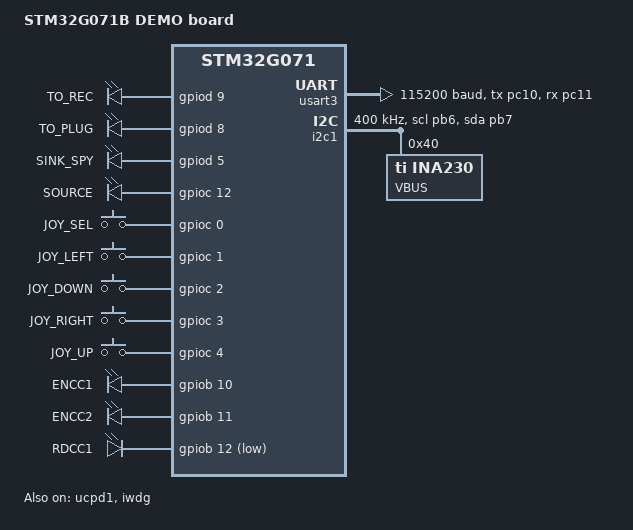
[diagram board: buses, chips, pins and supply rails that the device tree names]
/*
 * Copyright 2021 The Chromium OS Authors
 *
 * SPDX-License-Identifier: Apache-2.0
 */

/dts-v1/;
#include <st/g0/stm32g071Xb.dtsi>
#include <st/g0/stm32g071r(6-8-b)tx-pinctrl.dtsi>
#include <zephyr/dt-bindings/sensor/ina230.h>

/ {
	model = "STM32G071B DEMO board";
	compatible = "st,stm32g071-demo";

	chosen {
		zephyr,console = &usart3;
		zephyr,shell-uart = &usart3;
		zephyr,sram = &sram0;
		zephyr,flash = &flash0;
	};

	leds {
		compatible = "gpio-leds";
		red_led_4: led4 {
			gpios = <&gpiod 9 GPIO_ACTIVE_HIGH>;
			label = "TO_REC";
		};
		red_led_5: led5 {
			gpios = <&gpiod 8 GPIO_ACTIVE_HIGH>;
			label = "TO_PLUG";
		};
		green_led_6: led6 {
			gpios = <&gpiod 5 GPIO_ACTIVE_HIGH>;
			label = "SINK_SPY";
		};
		green_led_7: led7 {
			gpios = <&gpioc 12 GPIO_ACTIVE_HIGH>;
			label = "SOURCE";
		};
	};

	gpio_keys {
		compatible = "gpio-keys";
		joy_sel: button0 {
			label = "JOY_SEL";
			gpios = <&gpioc 0 (GPIO_ACTIVE_HIGH | GPIO_PULL_DOWN)>;
		};
		joy_left: button1 {
			label = "JOY_LEFT";
			gpios = <&gpioc 1 (GPIO_ACTIVE_HIGH | GPIO_PULL_DOWN)>;
		};
		joy_down: button2 {
			label = "JOY_DOWN";
			gpios = <&gpioc 2 (GPIO_ACTIVE_HIGH | GPIO_PULL_DOWN)>;
		};
		joy_right: button3 {
			label = "JOY_RIGHT";
			gpios = <&gpioc 3 (GPIO_ACTIVE_HIGH | GPIO_PULL_DOWN)>;
		};
		joy_up: button4 {
			label = "JOY_UP";
			gpios = <&gpioc 4 (GPIO_ACTIVE_HIGH | GPIO_PULL_DOWN)>;
		};
	};

	cc_config {
		compatible = "gpio-leds";
		encc1 {
			gpios = <&gpiob 10 GPIO_ACTIVE_HIGH>;
			label = "ENCC1";
		};

		encc2 {
			gpios = <&gpiob 11 GPIO_ACTIVE_HIGH>;
			label = "ENCC2";
		};

		rdcc1 {
			gpios = <&gpiob 12 GPIO_ACTIVE_LOW>;
			label = "RDCC1";
		};
	};

	aliases {
		led0 = &red_led_4;
		led1 = &red_led_5;
		led2 = &green_led_6;
		led3 = &green_led_7;
		sw0 = &joy_sel;
		sw1 = &joy_left;
		sw2 = &joy_down;
		sw3 = &joy_right;
		sw4 = &joy_up;
		watchdog0 = &iwdg;
	};
};

&clk_hsi {
	status = "okay";
};

&pll {
	div-m = <1>;
	mul-n = <8>;
	div-p = <2>;
	div-q = <2>;
	div-r = <2>;
	clocks = <&clk_hsi>;
	status = "okay";
};

&rcc {
	clocks = <&pll>;
	clock-frequency = <DT_FREQ_M(64)>;
	ahb-prescaler = <1>;
	apb1-prescaler = <1>;
};

&usart3 {
	pinctrl-0 = <&usart3_tx_pc10 &usart3_rx_pc11>;
	pinctrl-names = "default";
	current-speed = <115200>;
	status = "okay";
};

&i2c1 {
	status = "okay";
	pinctrl-0 = <&i2c1_scl_pb6 &i2c1_sda_pb7>;
	pinctrl-names = "default";
	status = "okay";
	clock-frequency = <I2C_BITRATE_FAST>;

	/*
	 * Use U10, INA230 to measure VBUS. I2C Address: 0x40
	 */
	vbus_meas: ina230@40 {
		status = "okay";
		compatible = "ti,ina230";
		label = "VBUS";
		reg = <0x40>;
		config = <INA230_CONFIG(
			INA230_OPER_MODE_BUS_VOLTAGE_CONT,
			INA230_CONV_TIME_1100,
			INA230_CONV_TIME_1100,
			INA230_AVG_MODE_1)>;
		/* Set current LSB to 1mA */
		current-lsb = <1>;
		/* Set shunt resistor value to 15 milliohms */
		rshunt = <15>;
	};
};

&ucpd1 {
	status = "okay";

	/*
	 * UCPD is fed directly from HSI which is @ 16MHz. The ucpd_clk goes to
	 * a prescaler who's output feeds the 'half-bit' divider which is used
	 * to generate clock for delay counters and BMC Rx/Tx blocks. The rx is
	 * designed to work in freq ranges of 6 <--> 18 MHz, however recommended
	 * range is 9 <--> 18 MHz.
	 *
	 *          +-------+ @ 16 MHz +-------+   @ ~600 kHz   +-----------+
	 * HSI ---->| /psc  |--------->| /hbit |--------------->| trans_cnt |
	 *          +-------+          +-------+   |            +-----------+
	 *                                         |            +-----------+
	 *                                         +----------->| ifrgap_cnt|
	 *                                                      +-----------+
	 * Requirements:
	 *   1. hbit_clk ~= 600 kHz: 16 MHz / 600 kHz = 26.67
	 *   2. tTransitionWindow - 12 to 20 uSec
	 *   3. tInterframGap - uSec
	 *
	 * hbit_clk = HSI_clk / 27 = 592.6 kHz = 1.687 uSec period
	 * tTransitionWindow = 1.687 uS * 8 = 13.5 uS
	 * tInterFrameGap = 1.687 uS * 17 = 28.68 uS
	 */
	psc-ucpdclk = <1>;
	hbitclkdiv = <27>;
};

&iwdg {
	status = "okay";
};
